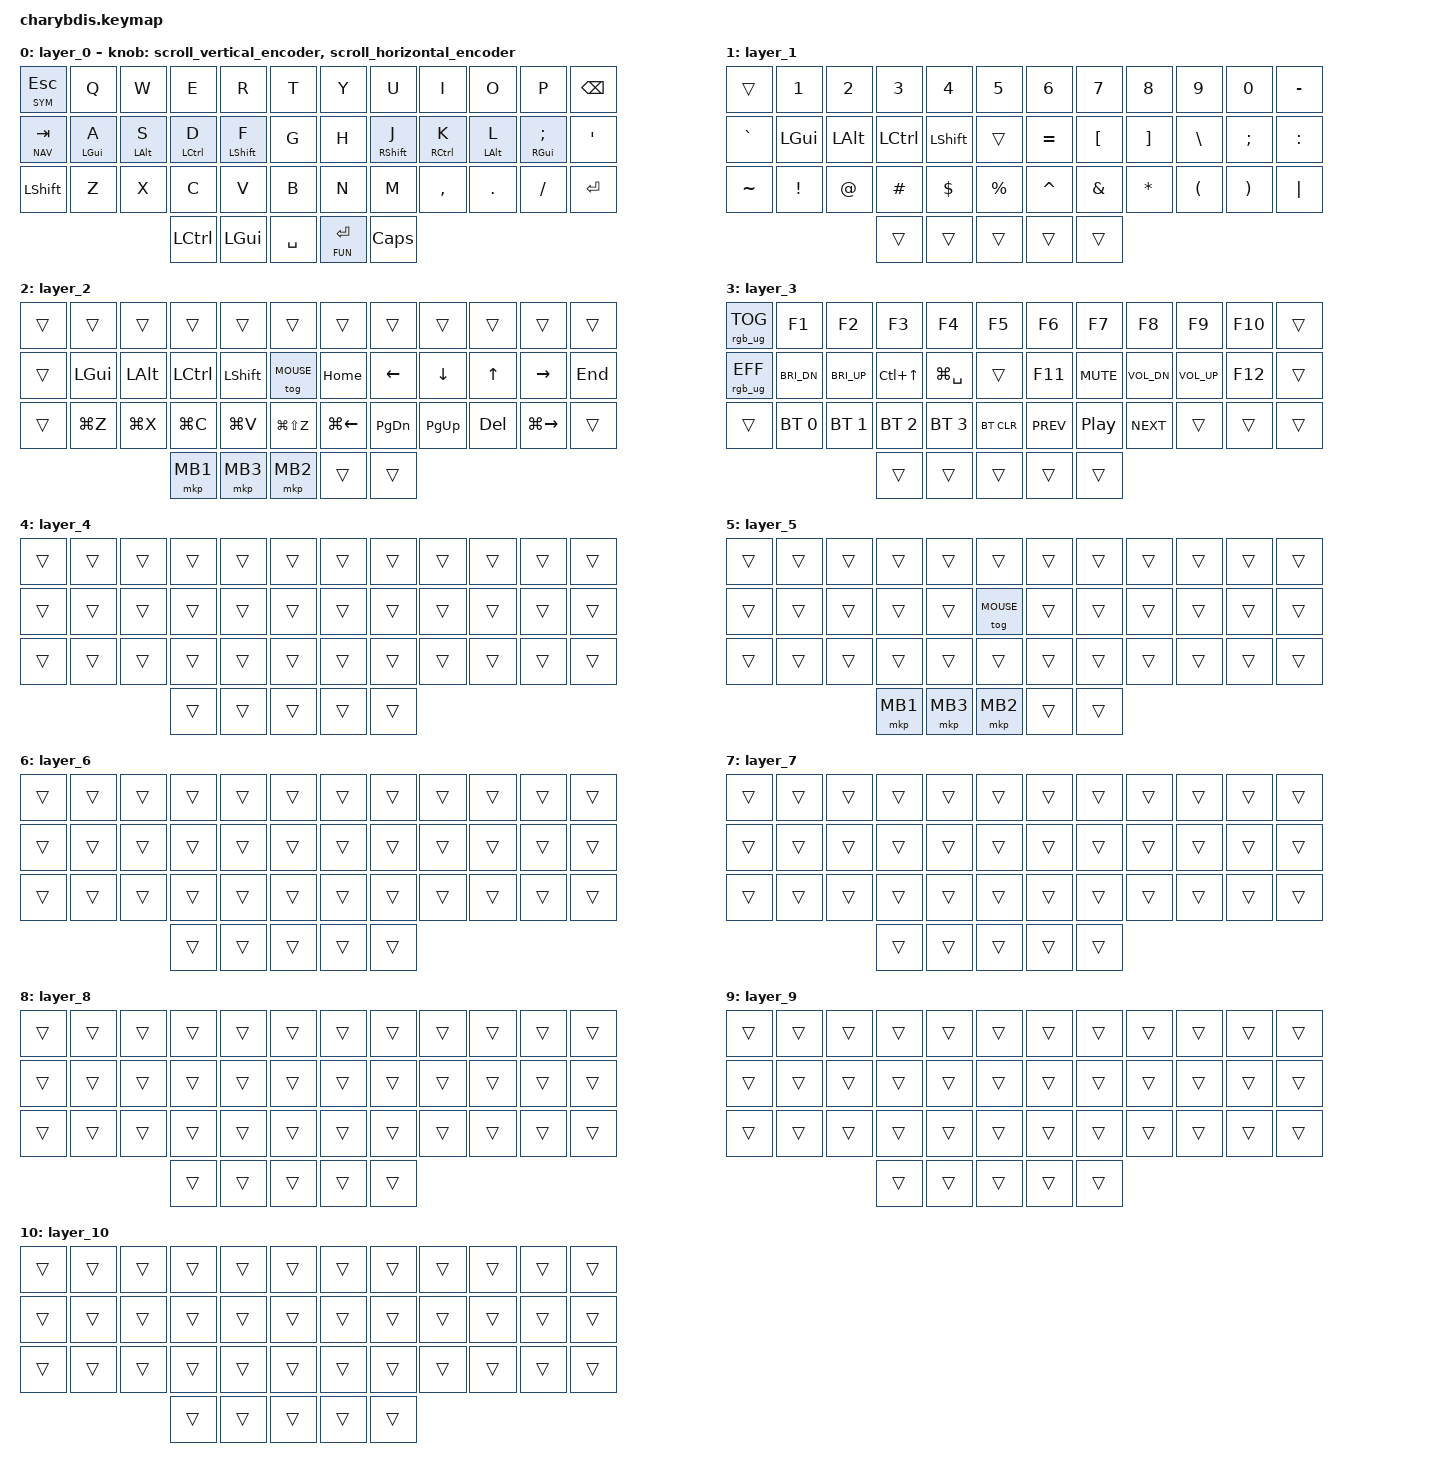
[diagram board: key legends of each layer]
#include <dt-bindings/zmk/mouse.h>
#include <input/processors.dtsi>
#include <zephyr/dt-bindings/input/input-event-codes.h>
#include <behaviors.dtsi>
#include <dt-bindings/zmk/bt.h>
#include <dt-bindings/zmk/keys.h>
#include <dt-bindings/zmk/pointing.h>
#include <dt-bindings/zmk/rgb.h>

#define ZMK_POINTING_DEFAULT_MOVE_VAL 1000
#define ZMK_POINTING_DEFAULT_SCRL_VAL 12

// Layer indices
#define BASE   0
#define SYM    1
#define NAV    2
#define FUN    3
#define MOUSE  5

// SYM/NAV layer hold is now on left pinky (ESC/TAB positions) so the
// right thumb can roll the trackball without interfering with layer access.

&lt {
    tapping-term-ms = <200>;
    flavor = "balanced";
    quick-tap-ms = <150>;
};

// Trackball: normal mouse movement on BASE, scroll when NAV layer is held
&mmv_input_listener {
    input-processors = <&zip_xy_scaler 2 1>;

    nav_scroll {
        layers = <NAV>;
        input-processors = <&zip_xy_to_scroll_mapper>;
    };
};

&msc_input_listener { input-processors = <&zip_scroll_scaler 2 1>; };

&msc {
    acceleration-exponent = <0>;
    time-to-max-speed-ms = <100>;
    delay-ms = <0>;
};

&mmv {
    time-to-max-speed-ms = <500>;
    acceleration-exponent = <1>;
    trigger-period-ms = <16>;
};

/ {
    scroll_vertical_encoder: scroll_vertical_encoder {
        compatible = "zmk,behavior-sensor-rotate";
        #sensor-binding-cells = <0>;
        bindings = <&msc SCRL_DOWN>, <&msc SCRL_UP>;
        tap-ms = <100>;
    };

    scroll_horizontal_encoder: scroll_horizontal_encoder {
        compatible = "zmk,behavior-sensor-rotate";
        #sensor-binding-cells = <0>;
        bindings = <&msc SCRL_LEFT>, <&msc SCRL_RIGHT>;
        tap-ms = <100>;
    };

    behaviors {
        // Home Row Mod — urob-style timeless
        hm: home_row_mod {
            compatible = "zmk,behavior-hold-tap";
            #binding-cells = <2>;
            flavor = "balanced";
            tapping-term-ms = <280>;
            quick-tap-ms = <175>;
            require-prior-idle-ms = <150>;
            bindings = <&kp>, <&kp>;
        };

        // Layer-tap with RGB indicator on hold.
        // ZMK hold-tap is fixed at #binding-cells = <2> so usage is
        // `&sym_lt 0 ESCAPE` (first cell is a dummy for the macro).
        sym_lt: sym_layer_tap_rgb {
            compatible = "zmk,behavior-hold-tap";
            #binding-cells = <2>;
            flavor = "balanced";
            tapping-term-ms = <200>;
            quick-tap-ms = <150>;
            bindings = <&sym_indicator>, <&kp>;
        };
        nav_lt: nav_layer_tap_rgb {
            compatible = "zmk,behavior-hold-tap";
            #binding-cells = <2>;
            flavor = "balanced";
            tapping-term-ms = <200>;
            quick-tap-ms = <150>;
            bindings = <&nav_indicator>, <&kp>;
        };
        fun_lt: fun_layer_tap_rgb {
            compatible = "zmk,behavior-hold-tap";
            #binding-cells = <2>;
            flavor = "balanced";
            tapping-term-ms = <200>;
            quick-tap-ms = <150>;
            bindings = <&fun_indicator>, <&kp>;
        };
    };

    // tri-layer removed: NAV and SYM are now both on the left pinky,
    // making simultaneous hold impossible. FUN is accessed via right
    // outer thumb instead (see layer_0).

    macros {
        // Layer indicators: change RGB underglow color while layer is held.
        //   SYM  = blue   HSB(240,100,50)
        //   NAV  = green  HSB(120,100,50)
        //   FUN  = purple HSB(280,100,50)
        //   BASE = white  HSB(  0,  0,30) (dim — released state)
        // 1-param macros so they can be the hold-binding of a hold-tap
        // (hold-tap requires both bindings to have 1 cell). The param is
        // ignored — layer index is hard-coded in the macro body.
        sym_indicator: sym_indicator {
            compatible = "zmk,behavior-macro-one-param";
            label = "sym_indicator";
            #binding-cells = <1>;
            wait-ms = <0>;
            tap-ms = <0>;
            bindings
                = <&macro_press &mo SYM>
                , <&macro_tap &rgb_ug RGB_ON>
                , <&macro_tap &rgb_ug RGB_COLOR_HSB(240,100,50)>
                , <&macro_pause_for_release>
                , <&macro_release &mo SYM>
                , <&macro_tap &rgb_ug RGB_COLOR_HSB(0,0,30)>;
        };
        nav_indicator: nav_indicator {
            compatible = "zmk,behavior-macro-one-param";
            label = "nav_indicator";
            #binding-cells = <1>;
            wait-ms = <0>;
            tap-ms = <0>;
            bindings
                = <&macro_press &mo NAV>
                , <&macro_tap &rgb_ug RGB_ON>
                , <&macro_tap &rgb_ug RGB_COLOR_HSB(120,100,50)>
                , <&macro_pause_for_release>
                , <&macro_release &mo NAV>
                , <&macro_tap &rgb_ug RGB_COLOR_HSB(0,0,30)>;
        };
        fun_indicator: fun_indicator {
            compatible = "zmk,behavior-macro-one-param";
            label = "fun_indicator";
            #binding-cells = <1>;
            wait-ms = <0>;
            tap-ms = <0>;
            bindings
                = <&macro_press &mo FUN>
                , <&macro_tap &rgb_ug RGB_ON>
                , <&macro_tap &rgb_ug RGB_COLOR_HSB(280,100,50)>
                , <&macro_pause_for_release>
                , <&macro_release &mo FUN>
                , <&macro_tap &rgb_ug RGB_COLOR_HSB(0,0,30)>;
        };

        // Kept for backward compatibility (unused in current keymap)
        To1_macro: To1_macro {
            compatible = "zmk,behavior-macro";
            label = "To1_macro";
            #binding-cells = <0>;
            bindings = <&rgb_ug RGB_EFF &rgb_ug RGB_COLOR_HSB(128,100,50) &to 1>;
        };

        To0_macro: To0_macro {
            compatible = "zmk,behavior-macro";
            label = "To0_macro";
            #binding-cells = <0>;
            bindings = <&rgb_ug RGB_EFR &to 0>;
        };
    };

    keymap {
        compatible = "zmk,keymap";

        // ────────────────────────────────────────────────────────────────
        // BASE — QWERTY + home row mods
        //   Left pinky top: lt(SYM, ESC) — tap=ESC, hold=SYM
        //   Left pinky mid: lt(NAV, TAB) — tap=TAB, hold=NAV
        //   Left thumbs (outer→inner): Ctrl / Cmd / Space
        //   Right thumbs: lt(FUN, RET) / CAPS (한/영)
        //   Right pinky top: BSPC (swapped with CAPS)
        //   Trackball auto-scrolls when NAV layer is held (left pinky TAB)
        // ────────────────────────────────────────────────────────────────
        layer_0 {
            bindings = <
&lt SYM ESC      &kp Q           &kp W           &kp E            &kp R            &kp T          &kp Y       &kp U            &kp I            &kp O           &kp P              &kp BSPC
&lt NAV TAB      &hm LGUI A      &hm LALT S      &hm LCTRL D      &hm LSHFT F      &kp G          &kp H       &hm RSHFT J      &hm RCTRL K      &hm LALT L      &hm RGUI SEMI      &kp SQT
&kp LSHFT        &kp Z           &kp X           &kp C            &kp V            &kp B          &kp N       &kp M            &kp COMMA        &kp DOT         &kp SLASH          &kp RET
                                                 &kp LCTRL        &kp LGUI         &kp SPACE      &lt FUN RET &kp CAPS
            >;

            sensor-bindings =
                <&scroll_vertical_encoder>,
                <&scroll_horizontal_encoder>;
        };

        // ────────────────────────────────────────────────────────────────
        // SYM — symbols + numbers
        //   Activate: hold right-outer thumb (ENT)
        // ────────────────────────────────────────────────────────────────
        layer_1 {
            bindings = <
&trans    &kp N1     &kp N2     &kp N3     &kp N4     &kp N5       &kp N6      &kp N7      &kp N8      &kp N9       &kp N0       &kp MINUS
&kp GRAVE &kp LGUI   &kp LALT   &kp LCTRL  &kp LSHFT  &trans       &kp EQUAL   &kp LBKT    &kp RBKT    &kp BSLH     &kp SEMI     &kp COLON
&kp TILDE &kp EXCL   &kp AT     &kp HASH   &kp DLLR   &kp PRCNT    &kp CARET   &kp AMPS    &kp ASTRK   &kp LPAR     &kp RPAR     &kp PIPE
                                &trans     &trans     &trans       &trans      &trans
            >;
        };

        // ────────────────────────────────────────────────────────────────
        // NAV — arrows, Mac shortcuts on left, mouse clicks on left thumb
        //   Activate: hold right-inner thumb (BSPC)
        //   Left thumb (outer→inner): MB1 / MB3 / MB2  (좌 / 가운데 / 우)
        //   Left bottom row: Mac shortcuts at Mac-standard ZXCV positions
        //   G (left index home row right): &tog MOUSE  (for drag-and-drop)
        // ────────────────────────────────────────────────────────────────
        layer_2 {
            bindings = <
&trans   &trans     &trans     &trans     &trans     &trans         &trans         &trans       &trans      &trans      &trans          &trans
&trans   &kp LGUI   &kp LALT   &kp LCTRL  &kp LSHFT  &tog MOUSE     &kp HOME       &kp LEFT     &kp DOWN    &kp UP      &kp RIGHT       &kp END
&trans   &kp LG(Z)  &kp LG(X)  &kp LG(C)  &kp LG(V)  &kp LG(LS(Z))  &kp LG(LEFT)   &kp PG_DN    &kp PG_UP   &kp DEL     &kp LG(RIGHT)   &trans
                               &mkp MB1   &mkp MB3   &mkp MB2       &trans         &trans
            >;
        };

        // ────────────────────────────────────────────────────────────────
        // FUN — function keys, Mac system, media, Bluetooth
        //   Activate: tri-layer (NAV + SYM held together)
        // ────────────────────────────────────────────────────────────────
        layer_3 {
            bindings = <
&rgb_ug RGB_TOG  &kp F1         &kp F2         &kp F3         &kp F4         &kp F5         &kp F6      &kp F7       &kp F8       &kp F9       &kp F10     &trans
&rgb_ug RGB_EFF  &kp C_BRI_DN   &kp C_BRI_UP   &kp LC(UP)     &kp LG(SPACE)  &trans         &kp F11     &kp C_MUTE   &kp C_VOL_DN &kp C_VOL_UP &kp F12     &trans
&trans           &bt BT_SEL 0   &bt BT_SEL 1   &bt BT_SEL 2   &bt BT_SEL 3   &bt BT_CLR     &kp C_PREV  &kp C_PP     &kp C_NEXT   &trans       &trans      &trans
                                       &trans         &trans         &trans         &trans      &trans
            >;
        };

        // ──── Unused layers below (preserved as &trans for safety) ──────

        layer_4 {
            bindings = <
&trans  &trans  &trans  &trans  &trans  &trans    &trans  &trans  &trans  &trans  &trans  &trans
&trans  &trans  &trans  &trans  &trans  &trans    &trans  &trans  &trans  &trans  &trans  &trans
&trans  &trans  &trans  &trans  &trans  &trans    &trans  &trans  &trans  &trans  &trans  &trans
                        &trans  &trans  &trans    &trans  &trans
            >;
        };

        // ────────────────────────────────────────────────────────────────
        // MOUSE — sticky toggle layer for drag-and-drop
        //   Enter/exit: tap G in NAV (or any &tog MOUSE binding)
        //   Hold MB on left thumb + move trackball with right hand
        // ────────────────────────────────────────────────────────────────
        layer_5 {
            bindings = <
&trans  &trans  &trans  &trans  &trans  &trans         &trans  &trans  &trans  &trans  &trans  &trans
&trans  &trans  &trans  &trans  &trans  &tog MOUSE     &trans  &trans  &trans  &trans  &trans  &trans
&trans  &trans  &trans  &trans  &trans  &trans         &trans  &trans  &trans  &trans  &trans  &trans
                        &mkp MB1  &mkp MB3  &mkp MB2   &trans  &trans
            >;
        };

        layer_6 {
            bindings = <
&trans  &trans  &trans  &trans  &trans  &trans    &trans  &trans  &trans  &trans  &trans  &trans
&trans  &trans  &trans  &trans  &trans  &trans    &trans  &trans  &trans  &trans  &trans  &trans
&trans  &trans  &trans  &trans  &trans  &trans    &trans  &trans  &trans  &trans  &trans  &trans
                        &trans  &trans  &trans    &trans  &trans
            >;
        };

        layer_7 {
            bindings = <
&trans  &trans  &trans  &trans  &trans  &trans    &trans  &trans  &trans  &trans  &trans  &trans
&trans  &trans  &trans  &trans  &trans  &trans    &trans  &trans  &trans  &trans  &trans  &trans
&trans  &trans  &trans  &trans  &trans  &trans    &trans  &trans  &trans  &trans  &trans  &trans
                        &trans  &trans  &trans    &trans  &trans
            >;
        };

        layer_8 {
            bindings = <
&trans  &trans  &trans  &trans  &trans  &trans    &trans  &trans  &trans  &trans  &trans  &trans
&trans  &trans  &trans  &trans  &trans  &trans    &trans  &trans  &trans  &trans  &trans  &trans
&trans  &trans  &trans  &trans  &trans  &trans    &trans  &trans  &trans  &trans  &trans  &trans
                        &trans  &trans  &trans    &trans  &trans
            >;
        };

        layer_9 {
            bindings = <
&trans  &trans  &trans  &trans  &trans  &trans    &trans  &trans  &trans  &trans  &trans  &trans
&trans  &trans  &trans  &trans  &trans  &trans    &trans  &trans  &trans  &trans  &trans  &trans
&trans  &trans  &trans  &trans  &trans  &trans    &trans  &trans  &trans  &trans  &trans  &trans
                        &trans  &trans  &trans    &trans  &trans
            >;
        };

        layer_10 {
            bindings = <
&trans  &trans  &trans  &trans  &trans  &trans    &trans  &trans  &trans  &trans  &trans  &trans
&trans  &trans  &trans  &trans  &trans  &trans    &trans  &trans  &trans  &trans  &trans  &trans
&trans  &trans  &trans  &trans  &trans  &trans    &trans  &trans  &trans  &trans  &trans  &trans
                        &trans  &trans  &trans    &trans  &trans
            >;
        };
    };
};
